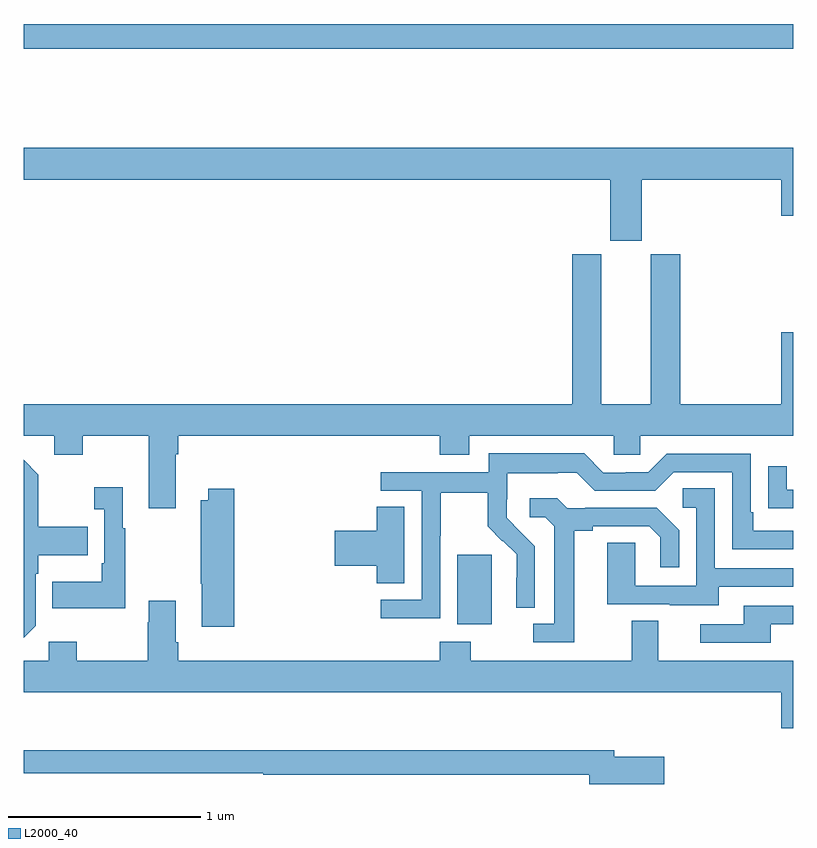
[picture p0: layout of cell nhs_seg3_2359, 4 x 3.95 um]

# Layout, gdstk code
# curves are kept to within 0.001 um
import gdstk
lib = gdstk.Library(unit=1e-6, precision=1e-09)
def R(c, l, rs):  # rectangles x0, y0, x1, y1
    for r in rs: c.add(gdstk.rectangle(r[:2], r[2:], *l))
def P(c, l, *ps):  # polygons
    for p in ps: c.add(gdstk.Polygon(p, *l))
L2000_40 = (2000, 40)

nhs_seg3_2359 = lib.new_cell('nhs_seg3_2359')
R(nhs_seg3_2359, L2000_40, [(235.253,689.282,235.432,689.643), (233,692.272,237,692.4)])
P(nhs_seg3_2359, L2000_40, [(236.212,691.592),(236.936,691.592),(236.936,691.404),(237,691.404),(237,691.756),(233,691.756),(233,691.592),(236.048,691.592),(236.048,691.275),(236.212,691.275)],
  [(233,690.26),(233.159,690.26),(233.159,690.161),(233.307,690.161),(233.307,690.26),(233.651,690.26),(233.651,689.883),(233.791,689.883),(233.791,690.164),(233.804,690.164),(233.804,690.26),(235.163,690.26),(235.163,690.161),(235.315,690.161),(235.315,690.26),(236.067,690.26),(236.067,690.162),(236.205,690.162),(236.205,690.26),(237,690.26),(237,690.799),(236.936,690.799),(236.936,690.424),(236.411,690.424),(236.411,691.203),(236.258,691.203),(236.258,690.424),(236.002,690.424),(236.002,691.203),(235.85,691.203),(235.85,690.424),(233,690.424)],
  [(235.164,689.74),(235.167,689.74),(235.167,689.964),(235.411,689.964),(235.411,689.789),(235.488,689.712),(235.491,689.715),(235.562,689.645),(235.562,689.522),(235.56,689.522),(235.56,689.368),(235.656,689.368),(235.656,689.686),(235.51,689.834),(235.51,689.931),(235.512,689.931),(235.512,690.065),(235.775,690.065),(235.775,690.069),(235.875,690.069),(235.968,689.976),(236.283,689.976),(236.379,690.072),(236.682,690.072),(236.682,689.67),(237,689.67),(237,689.766),(236.791,689.766),(236.791,689.863),(236.778,689.863),(236.778,690.168),(236.343,690.168),(236.247,690.072),(236.129,690.072),(236.129,690.069),(236.013,690.069),(235.913,690.169),(235.416,690.169),(235.416,690.072),(234.855,690.072),(234.855,689.976),(235.068,689.976),(235.068,689.409),(234.855,689.409),(234.855,689.311),(235.164,689.311)],
  [(233.064,689.274),(233.064,689.543),(233.077,689.543),(233.077,689.639),(233.333,689.639),(233.333,689.787),(233.077,689.787),(233.077,690.059),(233,690.136),(233,689.21)],
  [(237,689.979),(236.965,689.979),(236.965,690.103),(236.869,690.103),(236.869,689.884),(236.971,689.884),(236.971,689.883),(237,689.883)],
  [(233.527,689.779),(233.515,689.779),(233.515,689.992),(233.367,689.992),(233.367,689.879),(233.418,689.879),(233.418,689.599),(233.406,689.599),(233.406,689.503),(233.149,689.503),(233.149,689.363),(233.527,689.363)],
  [(236.611,689.475),(237,689.475),(237,689.571),(236.592,689.571),(236.592,689.987),(236.424,689.987),(236.424,689.886),(236.496,689.886),(236.496,689.481),(236.178,689.481),(236.178,689.705),(236.033,689.705),(236.033,689.385),(236.357,689.385),(236.357,689.381),(236.611,689.381)],
  [(234.095,689.986),(233.96,689.986),(233.96,689.926),(233.92,689.926),(233.92,689.491),(233.927,689.491),(233.927,689.268),(234.095,689.268)],
  [(235.861,689.768),(235.957,689.768),(235.957,689.79),(236.252,689.79),(236.309,689.733),(236.309,689.577),(236.406,689.577),(236.406,689.77),(236.29,689.886),(235.918,689.886),(235.918,689.883),(235.824,689.883),(235.772,689.935),(235.629,689.935),(235.629,689.838),(235.71,689.838),(235.757,689.791),(235.757,689.283),(235.647,689.283),(235.647,689.187),(235.861,689.187)],
  [(234.979,689.891),(234.836,689.891),(234.836,689.768),(234.618,689.768),(234.618,689.585),(234.836,689.585),(234.836,689.494),(234.979,689.494)],
  [(237,689.092),(236.299,689.092),(236.299,689.3),(236.159,689.3),(236.159,689.092),(235.323,689.092),(235.323,689.191),(235.163,689.191),(235.163,689.092),(233.804,689.092),(233.804,689.188),(233.791,689.188),(233.791,689.404),(233.651,689.404),(233.651,689.291),(233.644,689.291),(233.644,689.092),(233.277,689.092),(233.277,689.191),(233.13,689.191),(233.13,689.092),(233,689.092),(233,688.928),(236.936,688.928),(236.936,688.74),(237,688.74)],
  [(236.881,689.28),(237,689.28),(237,689.376),(236.741,689.376),(236.741,689.28),(236.517,689.28),(236.517,689.184),(236.881,689.184)],
  [(236.329,688.593),(236.068,688.593),(236.068,688.627),(233,688.627),(233,688.506),(234.244,688.506),(234.244,688.498),(235.94,688.498),(235.94,688.451),(236.329,688.451)])

lib.write_gds('nhs_seg3_2359.gds')
